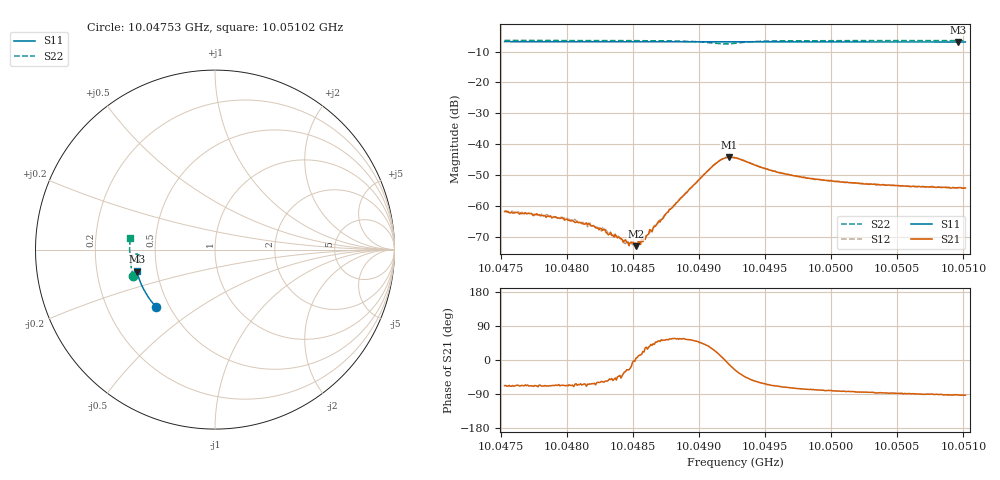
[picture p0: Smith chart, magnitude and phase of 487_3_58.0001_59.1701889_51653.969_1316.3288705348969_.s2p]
#  HZ  S  RI  R  50.00
! Rohde & Schwarz Vector Network Analyzer
! Rohde-Schwarz,ZNB20-2Port,1311601062101988,3.16
! Created: UTC 3/21/2024, 1:12:08 AM
! freq[Hz]  re:S11  im:S11  re:S21  im:S21  re:S12  im:S12  re:S22  im:S22
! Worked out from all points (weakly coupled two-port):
!   401 points, 10.04753 GHz to 10.05102 GHz, reference 50 ohm
!   highest |S21| = -44.20 dB at 10.04923 GHz (marker M1); lowest = -73.1 dB at 10.04852 GHz (marker M2)
!   lowest |S11| = -6.9 dB at 10.05096 GHz (marker M3), VSWR 2.65, Z = 19.2 - j5.93 ohm
!   |S11| at or under -10 dB: nowhere
!   |S22| runs from -7.5 to -6.4 dB; largest |S21 - S12| = 0.00042
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1.0047526e10  -0.3287 -0.3193  0.000308 -0.000746  0.000356 -0.000717  -0.4554 -0.1483
1.0047858e10  -0.3432 -0.3026  0.000247 -0.00063  0.000304 -0.000628  -0.461 -0.1262
1.0047954e10  -0.3471 -0.2978  0.00025 -0.000585  0.000312 -0.000575  -0.4625 -0.1198
1.0048111e10  -0.3536 -0.2896  0.000216 -0.000481  0.000246 -0.000446  -0.4648 -0.1087
1.0048155e10  -0.3553 -0.2873  0.000217 -0.000444  0.000226 -0.000396  -0.4655 -0.1057
1.0048285e10  -0.3603 -0.2805  0.000229 -0.000347  0.000244 -0.000318  -0.467 -0.096
1.0048338e10  -0.3625 -0.2777  0.000218 -0.00025  0.000238 -0.000235  -0.4675 -0.092
1.0048381e10  -0.3641 -0.2753  0.000217 -0.000211  0.000211 -0.000239  -0.4678 -0.0887
1.0048451e10  -0.3668 -0.2715  0.000229 -0.00011  0.000232 -0.000123  -0.4683 -0.0833
1.0048486e10  -0.368 -0.2697  0.000243 -7.36e-05  0.000258 -3.82e-05  -0.4685 -0.0806
1.0048521e10  -0.3694 -0.2677  0.000221 1.9e-05  0.000262 3.47e-06  -0.4687 -0.0776
1.0048573e10  -0.3714 -0.2648  0.000241 0.0001  0.000262 0.000105  -0.4688 -0.0731
1.0048695e10  -0.3759 -0.2581  0.000363 0.000442  0.00033 0.00043  -0.4685 -0.0624
1.0049105e10  -0.3894 -0.2349  0.00397 0.0021  0.00386 0.00234  -0.4338 -0.0249
1.0049167e10  -0.3911 -0.2314  0.00554 0.000913  0.00548 0.00126  -0.4207 -0.0345
1.0049228e10  -0.3931 -0.2283  0.00603 -0.0013  0.00613 -0.000937  -0.4194 -0.0523
1.0049271e10  -0.3943 -0.2258  0.00538 -0.00264  0.0056 -0.0023  -0.4272 -0.0618
1.0049577e10  -0.4038 -0.2081  0.00133 -0.00337  0.00153 -0.00327  -0.4682 -0.043
1.0049856e10  -0.4116 -0.1913  0.000551 -0.0027  0.000705 -0.00267  -0.4744 -0.0175
1.005044e10  -0.4255 -0.1558  7.48e-05 -0.00217  0.000244 -0.00216  -0.4756 0.0265
1.0050964e10  -0.4351 -0.1231  -7.72e-05 -0.00197  2.42e-05 -0.00197  -0.4718 0.0623
1.0051016e10  -0.4362 -0.1195  -0.000103 -0.00194  5.19e-06 -0.00195  -0.4714 0.066
